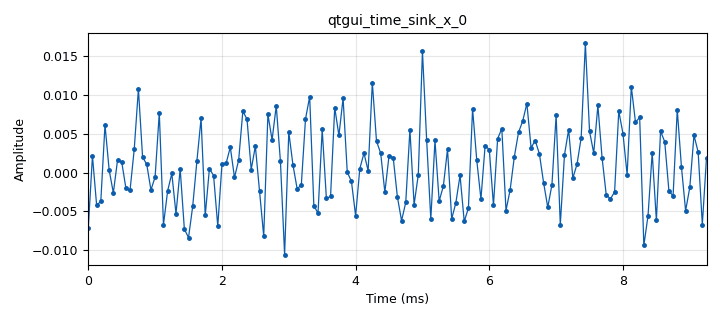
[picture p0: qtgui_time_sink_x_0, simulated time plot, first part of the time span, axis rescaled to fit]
<?xml version='1.0' encoding='utf-8'?>
<?grc format='1' created='3.7.11'?>
<flow_graph>
<block>
<key>options</key>
<param><key>id</key><value>throttled</value></param>
<param><key>generate_options</key><value>qt_gui</value></param>
</block>
<block>
<key>variable</key>
<param><key>id</key><value>samp_rate</value></param>
<param><key>value</key><value>16000</value></param>
</block>
<block>
<key>analog_noise_source_x</key>
<param><key>id</key><value>analog_noise_source_x_1</value></param>
<param><key>amp</key><value>0.1</value></param>
<param><key>noise_type</key><value>analog.GR_GAUSSIAN</value></param>
<param><key>type</key><value>float</value></param>
<param><key>seed</key><value>0</value></param>
</block>
<block>
<key>analog_sig_source_x</key>
<param><key>id</key><value>analog_sig_source_x_0</value></param>
<param><key>amp</key><value>1</value></param>
<param><key>freq</key><value>2000</value></param>
<param><key>offset</key><value>0</value></param>
<param><key>type</key><value>float</value></param>
<param><key>samp_rate</key><value>samp_rate</value></param>
<param><key>waveform</key><value>analog.GR_COS_WAVE</value></param>
</block>
<block>
<key>blocks_add_xx</key>
<param><key>id</key><value>blocks_add_xx_0</value></param>
<param><key>type</key><value>float</value></param>
</block>
<block>
<key>blocks_float_to_uchar</key>
<param><key>id</key><value>blocks_float_to_uchar_0</value></param>
</block>
<block>
<key>blocks_throttle</key>
<param><key>id</key><value>blocks_throttle_0</value></param>
<param><key>samples_per_second</key><value>samp_rate</value></param>
<param><key>type</key><value>float</value></param>
</block>
<block>
<key>blocks_udp_sink</key>
<param><key>id</key><value>blocks_udp_sink_0</value></param>
<param><key>ipaddr</key><value>"localhost"</value></param>
<param><key>port</key><value>5005</value></param>
<param><key>type</key><value>byte</value></param>
<param><key>psize</key><value>1</value></param>
<param><key>eof</key><value>True</value></param>
<param><key>vlen</key><value>1</value></param>
</block>
<block>
<key>qtgui_time_sink_x</key>
<param><key>id</key><value>qtgui_time_sink_x_0</value></param>
<param><key>ctrlpanel</key><value>True</value></param>
<param><key>color1</key><value>"blue"</value></param>
<param><key>label1</key><value></value></param>
<param><key>marker1</key><value>2</value></param>
<param><key>size</key><value>1024</value></param>
<param><key>srate</key><value>samp_rate</value></param>
<param><key>type</key><value>float</value></param>
</block>
<block>
<key>rational_resampler_xxx</key>
<param><key>id</key><value>rational_resampler_xxx_0</value></param>
<param><key>decim</key><value>320</value></param>
<param><key>interp</key><value>1</value></param>
<param><key>taps</key><value></value></param>
<param><key>type</key><value>fff</value></param>
</block>
<block>
<key>rational_resampler_xxx</key>
<param><key>id</key><value>rational_resampler_xxx_1</value></param>
<param><key>decim</key><value>50</value></param>
<param><key>interp</key><value>1</value></param>
<param><key>taps</key><value></value></param>
<param><key>type</key><value>fff</value></param>
</block>
<connection><source_block_id>analog_noise_source_x_1</source_block_id><sink_block_id>blocks_add_xx_0</sink_block_id><source_key>0</source_key><sink_key>1</sink_key></connection>
<connection><source_block_id>analog_sig_source_x_0</source_block_id><sink_block_id>blocks_add_xx_0</sink_block_id><source_key>0</source_key><sink_key>0</sink_key></connection>
<connection><source_block_id>blocks_add_xx_0</source_block_id><sink_block_id>blocks_throttle_0</sink_block_id><source_key>0</source_key><sink_key>0</sink_key></connection>
<connection><source_block_id>blocks_float_to_uchar_0</source_block_id><sink_block_id>blocks_udp_sink_0</sink_block_id><source_key>0</source_key><sink_key>0</sink_key></connection>
<connection><source_block_id>blocks_throttle_0</source_block_id><sink_block_id>rational_resampler_xxx_0</sink_block_id><source_key>0</source_key><sink_key>0</sink_key></connection>
<connection><source_block_id>rational_resampler_xxx_0</source_block_id><sink_block_id>qtgui_time_sink_x_0</sink_block_id><source_key>0</source_key><sink_key>0</sink_key></connection>
<connection><source_block_id>rational_resampler_xxx_0</source_block_id><sink_block_id>rational_resampler_xxx_1</sink_block_id><source_key>0</source_key><sink_key>0</sink_key></connection>
<connection><source_block_id>rational_resampler_xxx_1</source_block_id><sink_block_id>blocks_float_to_uchar_0</sink_block_id><source_key>0</source_key><sink_key>0</sink_key></connection>
</flow_graph>
